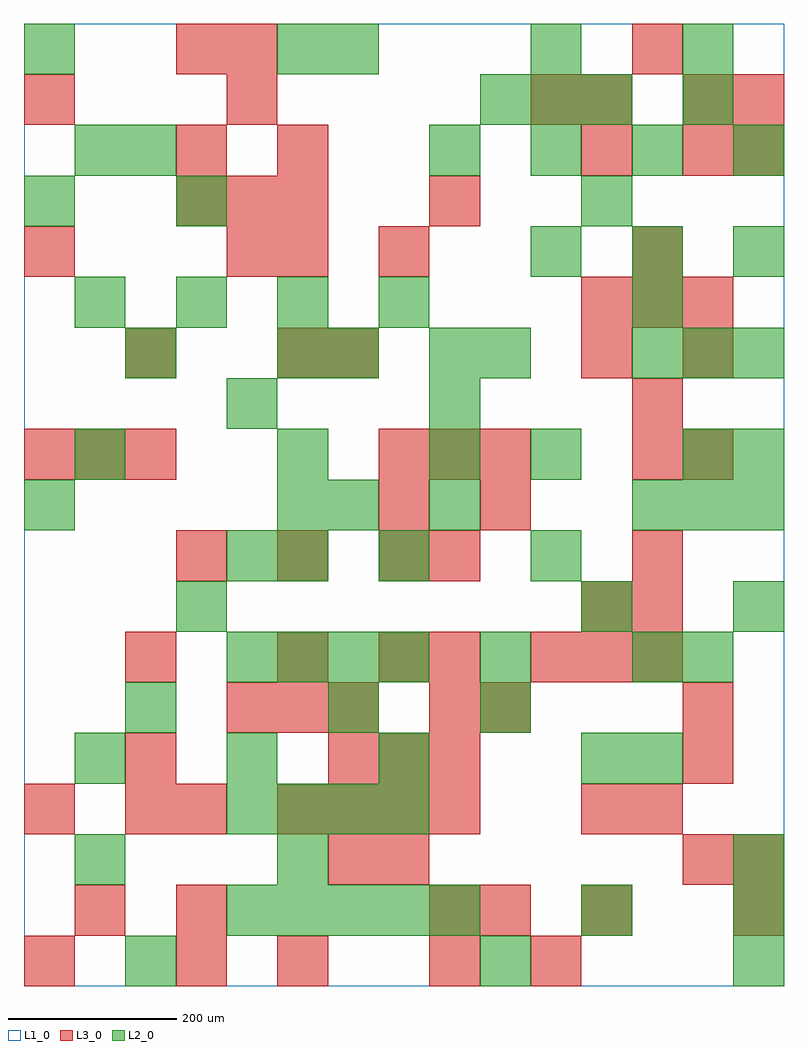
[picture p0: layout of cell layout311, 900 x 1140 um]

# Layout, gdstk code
import gdstk
lib = gdstk.Library(unit=1e-6, precision=1e-09)
def R(c, l, rs):  # rectangles x0, y0, x1, y1
    for r in rs: c.add(gdstk.rectangle(r[:2], r[2:], *l))
def A(c, l, x, y, w, h, nx, ny, dx, dy):  # array of equal rectangles
    R(c, l, [(x+i*dx, y+j*dy, x+i*dx+w, y+j*dy+h) for i in range(nx) for j in range(ny)])
L1_0 = (1, 0)
L2_0 = (2, 0)
L3_0 = (3, 0)

layout311 = lib.new_cell('layout311')
R(layout311, L1_0, [(0,0,900,1140)])
A(layout311, L2_0, 840, 0, 60, 60, 1, 3, 0, 60)
A(layout311, L2_0, 240, 60, 60, 60, 5, 1, 60, 0)
A(layout311, L2_0, 660, 60, 60, 60, 1, 3, 0, 180)
A(layout311, L2_0, 240, 180, 60, 60, 4, 2, 60, 180)
A(layout311, L2_0, 60, 240, 60, 60, 3, 1, 180, 0)
A(layout311, L2_0, 300, 480, 60, 60, 1, 3, 0, 60)
A(layout311, L2_0, 480, 540, 60, 60, 1, 4, 0, 60)
A(layout311, L2_0, 720, 540, 60, 60, 3, 2, 60, 180)
A(layout311, L2_0, 60, 780, 60, 60, 4, 1, 120, 0)
A(layout311, L2_0, 600, 840, 60, 60, 3, 1, 120, 0)
A(layout311, L2_0, 480, 960, 60, 60, 4, 1, 120, 0)
A(layout311, L2_0, 540, 1020, 60, 60, 3, 1, 60, 0)
R(layout311, L2_0, [(120,0,180,60), (540,0,600,60), (60,120,120,180), (300,120,360,180), (720,240,780,300), (120,300,180,360), (360,300,420,360), (540,300,600,360), (540,360,600,420), (720,360,780,420), (780,360,840,420), (180,420,240,480), (840,420,900,480), (240,480,300,540), (420,480,480,540), (600,480,660,540), (0,540,60,600), (360,540,420,600), (60,600,120,660), (600,600,660,660), (780,600,840,660), (840,600,900,660), (240,660,300,720), (120,720,180,780), (300,720,360,780), (360,720,420,780), (540,720,600,780), (720,780,780,840), (0,900,60,960), (180,900,240,960), (660,900,720,960), (60,960,120,1020), (120,960,180,1020), (780,1020,840,1080), (0,1080,60,1140), (300,1080,360,1140), (360,1080,420,1140), (600,1080,660,1140), (780,1080,840,1140)])
A(layout311, L3_0, 300, 0, 60, 60, 1, 3, 0, 360)
A(layout311, L3_0, 540, 60, 60, 60, 1, 3, 0, 240)
A(layout311, L3_0, 300, 180, 60, 60, 4, 1, 60, 0)
A(layout311, L3_0, 360, 240, 60, 60, 3, 1, 60, 0)
A(layout311, L3_0, 240, 300, 60, 60, 3, 1, 60, 0)
A(layout311, L3_0, 600, 360, 60, 60, 3, 1, 60, 0)
A(layout311, L3_0, 180, 480, 60, 60, 3, 1, 120, 0)
A(layout311, L3_0, 0, 600, 60, 60, 3, 1, 60, 0)
A(layout311, L3_0, 420, 600, 60, 60, 3, 1, 60, 0)
A(layout311, L3_0, 660, 780, 60, 60, 3, 1, 60, 0)
A(layout311, L3_0, 180, 900, 60, 60, 3, 1, 60, 0)
R(layout311, L3_0, [(0,0,60,60), (180,0,240,60), (480,0,540,60), (600,0,660,60), (60,60,120,120), (180,60,240,120), (480,60,540,120), (660,60,720,120), (840,60,900,120), (360,120,420,180), (420,120,480,180), (780,120,840,180), (840,120,900,180), (0,180,60,240), (120,180,180,240), (180,180,240,240), (660,180,720,240), (720,180,780,240), (120,240,180,300), (780,240,840,300), (480,300,540,360), (780,300,840,360), (120,360,180,420), (420,360,480,420), (480,360,540,420), (660,420,720,480), (720,420,780,480), (480,480,540,540), (720,480,780,540), (420,540,480,600), (720,600,780,660), (780,600,840,660), (720,660,780,720), (120,720,180,780), (360,720,420,780), (660,720,720,780), (780,720,840,780), (0,840,60,900), (240,840,300,900), (300,840,360,900), (420,840,480,900), (720,840,780,900), (480,900,540,960), (180,960,240,1020), (300,960,360,1020), (660,960,720,1020), (780,960,840,1020), (840,960,900,1020), (0,1020,60,1080), (240,1020,300,1080), (600,1020,660,1080), (660,1020,720,1080), (780,1020,840,1080), (840,1020,900,1080), (180,1080,240,1140), (240,1080,300,1140), (720,1080,780,1140)])

lib.write_gds('layout311.gds')
